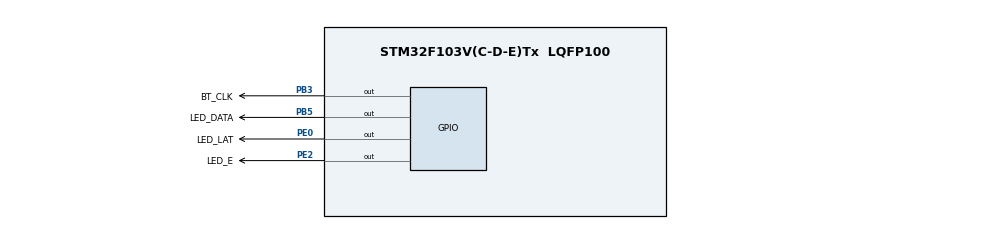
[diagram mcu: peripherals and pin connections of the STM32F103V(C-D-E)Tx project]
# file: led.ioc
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Mcu.Family=STM32F1
Mcu.Name=STM32F103V(C-D-E)Tx
Mcu.Package=LQFP100
NVIC.PriorityGroup=NVIC_PRIORITYGROUP_4
PB3.GPIO_Label=BT_CLK
PB3.Signal=GPIO_Output
PB5.GPIO_Label=LED_DATA
PB5.Signal=GPIO_Output
PE0.GPIO_Label=LED_LAT
PE0.Signal=GPIO_Output
PE2.GPIO_Label=LED_E
PE2.Signal=GPIO_Output
ProjectManager.HeapSize=0x200
ProjectManager.StackSize=0x400
ProjectManager.TargetToolchain=MDK-ARM V5.32
RCC.APB1Freq_Value=8000000
RCC.APB2Freq_Value=8000000
VP_SYS_VS_ND.Mode=No_Debug
board=custom

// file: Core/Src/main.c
/* USER CODE BEGIN Header */
/**
  ******************************************************************************
  * @file           : main.c
  * @brief          : Main program body
  ******************************************************************************
  * @attention
  *
  * Copyright (c) 2023 STMicroelectronics.
  * All rights reserved.
  *
  * This software is licensed under terms that can be found in the LICENSE file
  * in the root directory of this software component.
  * If no LICENSE file comes with this software, it is provided AS-IS.
  *
  ******************************************************************************
  */
/* USER CODE END Header */
#include "main.h"

/* USER CODE BEGIN PV */
/*const uint8_t LEDTABLE[]={0B00000010,0B10011110,0B00100100,
												0B00001100,0B10011000,0B01001000,
												0B01000000,0B00011110,0B00000000,
												0B00001000};*/

//const uint8_t LEDCODE[]={0xAF, 0xA0, 0x6E, 0xEA, 0xE1, 0xCB, 0xCF, 0xA2, 0xEF, 0xEB };
/* USER CODE END PV */

void SystemClock_Config(void);
static void MX_GPIO_Init(void);

/* USER CODE BEGIN 0 */

void LED_Clk(uint8_t n) {
	while(n>0) {
		HAL_GPIO_WritePin(BT_CLK_GPIO_Port,BT_CLK_Pin,GPIO_PIN_SET);
		HAL_GPIO_WritePin(BT_CLK_GPIO_Port,BT_CLK_Pin,GPIO_PIN_RESET);
		n = n-1;
	}
}
/*
void HIEN_THI( uint8_t n)
	{
		for(int i = 0; i<8; i++){
			HAL_GPIO_WritePin(SER_GPIO_Port, SER_Pin,(LEDCODE[n]>>i));
			HAL_GPIO_WritePin(SCK_GPIO_Port, SCK_Pin,GPIO_PIN_SET);
			HAL_GPIO_WritePin(SCK_GPIO_Port, SCK_Pin,GPIO_PIN_RESET);

		//	LED_Clk(n);

		}
	}*/
/* USER CODE END 0 */

int main(void)
{

  /* MCU Configuration--------------------------------------------------------*/

  /* Reset of all peripherals, Initializes the Flash interface and the Systick. */
  HAL_Init();

  /* Configure the system clock */
  SystemClock_Config();

  /* Initialize all configured peripherals */
  MX_GPIO_Init();
  /* USER CODE BEGIN 2 */
	//const uint8_t LEDCODE[]={0xAF, 0xA0, 0x6E, 0xEA, 0xE1, 0xCB, 0xCF, 0xA2, 0xEF, 0xEB };

	HAL_GPIO_WritePin(BT_CLK_GPIO_Port,BT_CLK_Pin,GPIO_PIN_SET);
	HAL_GPIO_WritePin(LED_E_GPIO_Port,LED_E_Pin,GPIO_PIN_RESET);
  uint8_t BT_Data=0;
  /* USER CODE END 2 */

  /* Infinite loop */
  /* USER CODE BEGIN WHILE */
	const uint8_t LEDCODE[]={0xAF, 0xA0, 0x6E, 0xEA, 0xE1, 0xCB, 0xCF, 0xA2, 0xEF, 0xEB };

	HAL_GPIO_WritePin(LED_LAT_GPIO_Port,LED_LAT_Pin,GPIO_PIN_RESET);
	HAL_GPIO_WritePin(BT_CLK_GPIO_Port,BT_CLK_Pin,GPIO_PIN_RESET);
	uint8_t donvi=0;
	uint8_t chuc =9;

		HAL_GPIO_WritePin(LED_DATA_GPIO_Port,LED_DATA_Pin,GPIO_PIN_SET);
			LED_Clk(1);
			HAL_GPIO_WritePin(LED_DATA_GPIO_Port,LED_DATA_Pin,GPIO_PIN_RESET);
			LED_Clk(7);
			//donvi=j%10;
			for (uint8_t i=0;i<8;i++) {
				HAL_GPIO_WritePin(LED_DATA_GPIO_Port,LED_DATA_Pin,(LEDCODE[8]&(0x80>>i)));
				HAL_GPIO_WritePin(BT_CLK_GPIO_Port,BT_CLK_Pin,GPIO_PIN_SET);
				HAL_GPIO_WritePin(BT_CLK_GPIO_Port,BT_CLK_Pin,GPIO_PIN_RESET);
			}
			HAL_GPIO_WritePin(LED_LAT_GPIO_Port,LED_LAT_Pin,GPIO_PIN_SET);
			HAL_GPIO_WritePin(LED_LAT_GPIO_Port,LED_LAT_Pin,GPIO_PIN_RESET);
  while (1)
  {
    /* USER CODE END WHILE */

  }
}

void SystemClock_Config(void)
{
  RCC_OscInitTypeDef RCC_OscInitStruct = {0};
  RCC_ClkInitTypeDef RCC_ClkInitStruct = {0};

  /** Initializes the RCC Oscillators according to the specified parameters
  * in the RCC_OscInitTypeDef structure.
  */
  RCC_OscInitStruct.OscillatorType = RCC_OSCILLATORTYPE_HSI;
  RCC_OscInitStruct.HSIState = RCC_HSI_ON;
  RCC_OscInitStruct.HSICalibrationValue = RCC_HSICALIBRATION_DEFAULT;
  RCC_OscInitStruct.PLL.PLLState = RCC_PLL_NONE;
  if (HAL_RCC_OscConfig(&RCC_OscInitStruct) != HAL_OK)
  {
    Error_Handler();
  }

  /** Initializes the CPU, AHB and APB buses clocks
  */
  RCC_ClkInitStruct.ClockType = RCC_CLOCKTYPE_HCLK|RCC_CLOCKTYPE_SYSCLK
                              |RCC_CLOCKTYPE_PCLK1|RCC_CLOCKTYPE_PCLK2;
  RCC_ClkInitStruct.SYSCLKSource = RCC_SYSCLKSOURCE_HSI;
  RCC_ClkInitStruct.AHBCLKDivider = RCC_SYSCLK_DIV1;
  RCC_ClkInitStruct.APB1CLKDivider = RCC_HCLK_DIV1;
  RCC_ClkInitStruct.APB2CLKDivider = RCC_HCLK_DIV1;

  if (HAL_RCC_ClockConfig(&RCC_ClkInitStruct, FLASH_LATENCY_0) != HAL_OK)
  {
    Error_Handler();
  }
}

static void MX_GPIO_Init(void)
{
  GPIO_InitTypeDef GPIO_InitStruct = {0};

  /* GPIO Ports Clock Enable */
  __HAL_RCC_GPIOE_CLK_ENABLE();
  __HAL_RCC_GPIOB_CLK_ENABLE();

  /*Configure GPIO pin Output Level */
  HAL_GPIO_WritePin(GPIOE, GPIO_PIN_2|GPIO_PIN_0, GPIO_PIN_RESET);

  /*Configure GPIO pin Output Level */
  HAL_GPIO_WritePin(GPIOB, GPIO_PIN_3|GPIO_PIN_5, GPIO_PIN_RESET);

  /*Configure GPIO pins : PE2 PE0 */
  GPIO_InitStruct.Pin = GPIO_PIN_2|GPIO_PIN_0;
  GPIO_InitStruct.Mode = GPIO_MODE_OUTPUT_PP;
  GPIO_InitStruct.Pull = GPIO_NOPULL;
  GPIO_InitStruct.Speed = GPIO_SPEED_FREQ_LOW;
  HAL_GPIO_Init(GPIOE, &GPIO_InitStruct);

  /*Configure GPIO pins : PB3 PB5 */
  GPIO_InitStruct.Pin = GPIO_PIN_3|GPIO_PIN_5;
  GPIO_InitStruct.Mode = GPIO_MODE_OUTPUT_PP;
  GPIO_InitStruct.Pull = GPIO_NOPULL;
  GPIO_InitStruct.Speed = GPIO_SPEED_FREQ_LOW;
  HAL_GPIO_Init(GPIOB, &GPIO_InitStruct);

}

void Error_Handler(void)
{
  __disable_irq();
  while (1)
  {
  }
}
